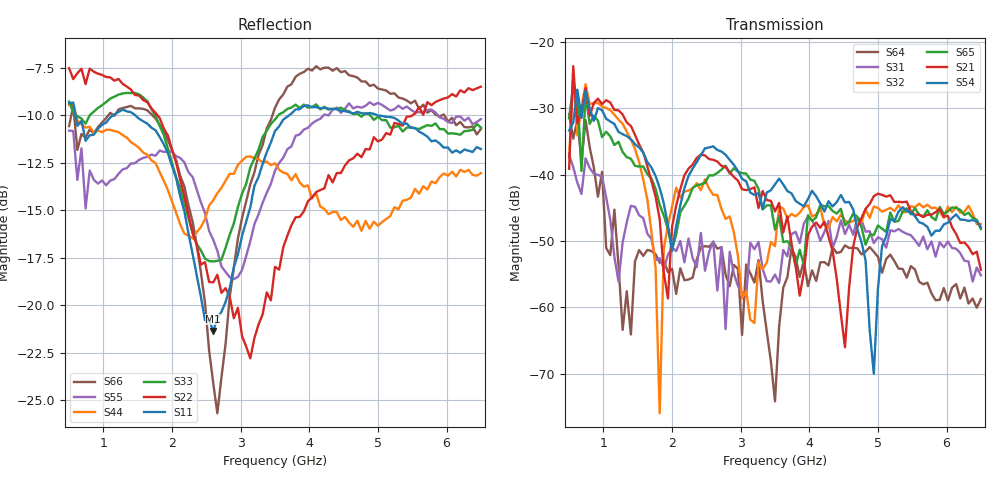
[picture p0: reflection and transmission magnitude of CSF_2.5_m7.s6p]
!Keysight Technologies,M9804A,MY58100912,A.14.10.03
!Date: Thursday, April 27, 2023 10:28:33
!Correction: S11(C  6-Port  )
!S12(C  6-Port  )
!S13(C  6-Port  )
!S14(C  6-Port  )
!S15(C  6-Port  )
!S16(C  6-Port  )
!S21(C  6-Port  )
!S22(C  6-Port  )
!S23(C  6-Port  )
!S24(C  6-Port  )
!S25(C  6-Port  )
!S26(C  6-Port  )
!S31(C  6-Port  )
!S32(C  6-Port  )
!S33(C  6-Port  )
!S34(C  6-Port  )
!S35(C  6-Port  )
!S36(C  6-Port  )
!S41(C  6-Port  )
!S42(C  6-Port  )
!S43(C  6-Port  )
!S44(C  6-Port  )
!S45(C  6-Port  )
!S46(C  6-Port  )
!S51(C  6-Port  )
!S52(C  6-Port  )
!S53(C  6-Port  )
!S54(C  6-Port  )
!S55(C  6-Port  )
!S56(C  6-Port  )
!S61(C  6-Port  )
!S62(C  6-Port  )
!S63(C  6-Port  )
!S64(C  6-Port  )
!S65(C  6-Port  )
!S66(C  6-Port  )
!S6P File: Measurement: :
# Hz S  RI  R 50
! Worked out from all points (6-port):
!   101 points, 500 MHz to 6.5 GHz, reference 50 ohm
!   strongest paths, dB at 500 MHz, 2 GHz, 3.5 GHz, 5 GHz, 6.5 GHz:
!     S54: -33.3, -51.5, -41.4, -57.2, -47.9
!     S21: -39.1, -47.8, -45.5, -42.8, -54.3
!     S65: -31.5, -51.2, -48.3, -47.6, -48.2
!     S32: -37.4, -44.8, -50.8, -45.0, -47.4
!     S31: -37.0, -50.9, -55.0, -49.4, -55.2
!     S64: -30.8, -54.2, -74.2, -52.4, -58.7
!   lowest |S11| = -21.4 dB at 2.6 GHz (marker M1), VSWR 1.19, Z = 42.4 + j2.28 ohm
!   |S11| at or under -10 dB: 592.4 MHz to 1.147 GHz (554.2 MHz wide, 63.7 % of centre); 1.461 GHz to 3.709 GHz (2.248 GHz wide, 87 % of centre); 4.988 GHz to end of sweep
